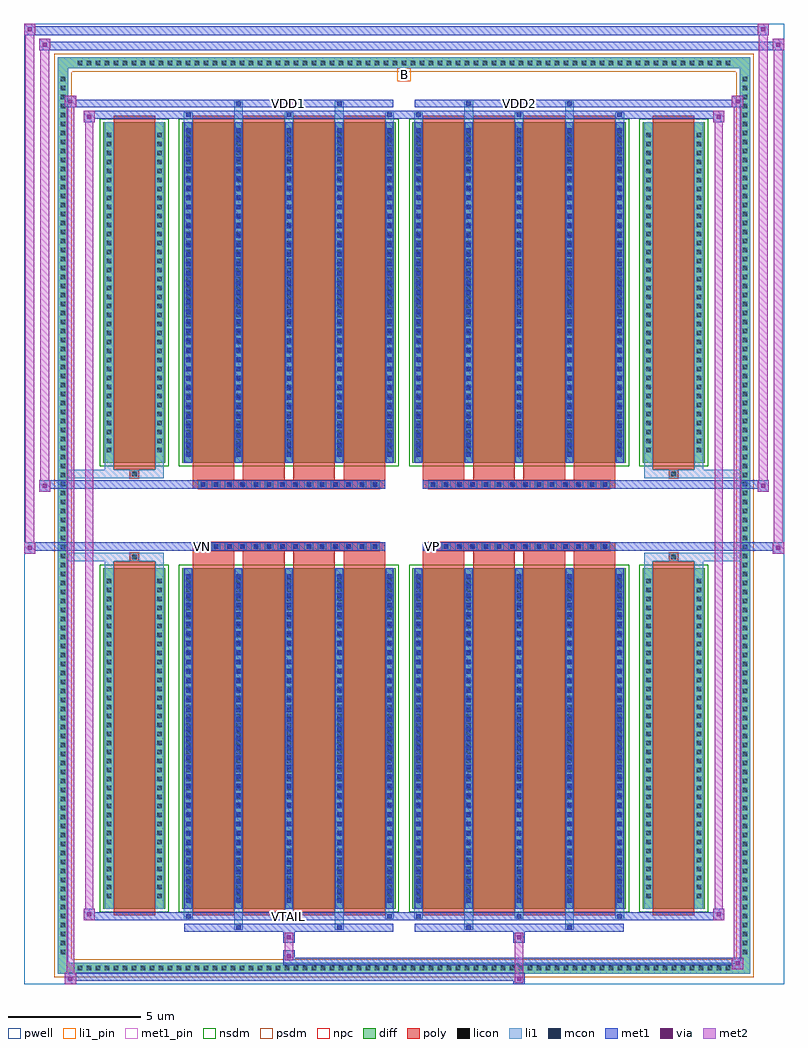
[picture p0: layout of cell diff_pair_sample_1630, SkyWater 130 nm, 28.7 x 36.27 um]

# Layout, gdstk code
import gdstk
lib = gdstk.Library(unit=1e-6, precision=5e-09)
def R(c, l, rs):  # rectangles x0, y0, x1, y1
    for r in rs: c.add(gdstk.rectangle(r[:2], r[2:], *l))
def A(c, l, x, y, w, h, nx, ny, dx, dy):  # array of equal rectangles
    R(c, l, [(x+i*dx, y+j*dy, x+i*dx+w, y+j*dy+h) for i in range(nx) for j in range(ny)])
def P(c, l, *ps):  # polygons
    for p in ps: c.add(gdstk.Polygon(p, *l))
pwell = (64, 44)
diff = (65, 20)
poly = (66, 20)
licon = (66, 44)
li1_pin = (67, 16)
li1 = (67, 20)
mcon = (67, 44)
met1_pin = (68, 16)
met1 = (68, 20)
via = (68, 44)
met2 = (69, 20)
nsdm = (93, 44)
psdm = (94, 20)
npc = (95, 20)

diff_pair_sample_1630 = lib.new_cell('diff_pair_sample_1630')
R(diff_pair_sample_1630, pwell, [(-14.35,-17.7,14.35,18.57), (-11.67,-15.89,-0.01,-0.805), (0.01,-15.89,11.67,-0.805), (-11.67,0.805,-0.01,15.89), (0.01,0.805,11.67,15.89)])
A(diff_pair_sample_1630, diff, -12.445, -17.3, 0.41, 0.41, 73, 2, 0.34, 34.19)
A(diff_pair_sample_1630, diff, -13.08, -16.695, 0.41, 0.41, 1, 98, 0, 0.34)
A(diff_pair_sample_1630, diff, 12.67, -16.695, 0.41, 0.41, 1, 98, 0, 0.34)
R(diff_pair_sample_1630, diff, [(-12.445,-17.3,12.445,-16.89), (-13.08,-16.695,-12.67,16.695), (12.67,-16.695,13.08,16.695), (-11.36,-14.845,-9.01,-1.985), (-8.37,-14.845,-0.32,-1.985), (0.32,-14.845,8.37,-1.985), (9.01,-14.845,11.36,-1.985), (-11.36,1.985,-9.01,14.845), (-8.37,1.985,-0.32,14.845), (0.32,1.985,8.37,14.845), (9.01,1.985,11.36,14.845), (-12.445,16.89,12.445,17.3)])
P(diff_pair_sample_1630, diff, [(13.08,17.3),(-13.08,17.3),(-13.08,-16.89),(-12.67,-16.89),(-12.67,16.89),(12.67,16.89),(12.67,-16.89),(-12.67,-16.89),(-13.08,-16.89),(-13.08,-17.3),(13.08,-17.3)])
A(diff_pair_sample_1630, poly, -7.98, -15.095, 1.57, 13.36, 4, 2, 1.9, 16.83)
A(diff_pair_sample_1630, poly, 0.71, -15.095, 1.57, 13.36, 4, 2, 1.9, 16.83)
A(diff_pair_sample_1630, poly, -7.98, -1.735, 1.57, 0.4, 4, 2, 1.9, 3.07)
A(diff_pair_sample_1630, poly, 0.71, -1.735, 1.57, 0.4, 4, 2, 1.9, 3.07)
A(diff_pair_sample_1630, poly, -7.76, -1.335, 0.33, 0.33, 14, 2, 0.5, 2.34)
A(diff_pair_sample_1630, poly, 0.93, -1.335, 0.33, 0.33, 14, 2, 0.5, 2.34)
R(diff_pair_sample_1630, poly, [(-10.97,-15.095,-9.4,-1.735), (9.4,-15.095,10.97,-1.735), (-10.35,-1.735,-10.02,-1.405), (-10.35,-1.735,-10.02,-1.405), (10.02,-1.735,10.35,-1.405), (10.02,-1.735,10.35,-1.405), (-7.98,-1.335,-0.71,-1.005), (0.71,-1.335,7.98,-1.005), (-7.98,1.005,-0.71,1.335), (0.71,1.005,7.98,1.335), (-10.35,1.405,-10.02,1.735), (-10.35,1.405,-10.02,1.735), (10.02,1.405,10.35,1.735), (10.02,1.405,10.35,1.735), (-10.97,1.735,-9.4,15.095), (9.4,1.735,10.97,15.095)])
A(diff_pair_sample_1630, licon, -12.325, -17.18, 0.17, 0.17, 73, 2, 0.34, 34.19)
A(diff_pair_sample_1630, licon, -12.96, -16.575, 0.17, 0.17, 1, 98, 0, 0.34)
A(diff_pair_sample_1630, licon, 12.79, -16.575, 0.17, 0.17, 1, 98, 0, 0.34)
A(diff_pair_sample_1630, licon, -11.22, -14.45, 0.17, 0.17, 1, 36, 0, 0.34)
A(diff_pair_sample_1630, licon, -9.32, -14.45, 0.17, 0.17, 1, 36, 0, 0.34)
A(diff_pair_sample_1630, licon, -8.23, -14.45, 0.17, 0.17, 5, 36, 1.9, 0.34)
A(diff_pair_sample_1630, licon, 0.46, -14.45, 0.17, 0.17, 5, 36, 1.9, 0.34)
A(diff_pair_sample_1630, licon, 9.15, -14.45, 0.17, 0.17, 1, 36, 0, 0.34)
A(diff_pair_sample_1630, licon, 11.05, -14.45, 0.17, 0.17, 1, 36, 0, 0.34)
A(diff_pair_sample_1630, licon, -7.68, -1.255, 0.17, 0.17, 14, 2, 0.5, 2.34)
A(diff_pair_sample_1630, licon, 1.01, -1.255, 0.17, 0.17, 14, 2, 0.5, 2.34)
A(diff_pair_sample_1630, licon, -11.22, 2.38, 0.17, 0.17, 1, 36, 0, 0.34)
A(diff_pair_sample_1630, licon, -9.32, 2.38, 0.17, 0.17, 1, 36, 0, 0.34)
A(diff_pair_sample_1630, licon, -8.23, 2.38, 0.17, 0.17, 5, 36, 1.9, 0.34)
A(diff_pair_sample_1630, licon, 0.46, 2.38, 0.17, 0.17, 5, 36, 1.9, 0.34)
A(diff_pair_sample_1630, licon, 9.15, 2.38, 0.17, 0.17, 1, 36, 0, 0.34)
A(diff_pair_sample_1630, licon, 11.05, 2.38, 0.17, 0.17, 1, 36, 0, 0.34)
R(diff_pair_sample_1630, licon, [(-10.27,-1.655,-10.1,-1.485), (10.1,-1.655,10.27,-1.485), (-10.27,1.485,-10.1,1.655), (10.1,1.485,10.27,1.655)])
R(diff_pair_sample_1630, li1_pin, [(-0.25,16.39,0.25,16.89)])
A(diff_pair_sample_1630, li1, -12.405, -17.26, 0.33, 0.33, 73, 2, 0.34, 34.19)
A(diff_pair_sample_1630, li1, -13.04, -16.655, 0.33, 0.33, 1, 98, 0, 0.34)
A(diff_pair_sample_1630, li1, 12.71, -16.655, 0.33, 0.33, 1, 98, 0, 0.34)
A(diff_pair_sample_1630, li1, -8.31, -15.22, 0.33, 0.375, 3, 2, 3.8, 30.065)
A(diff_pair_sample_1630, li1, -8.23, -15.22, 0.17, 0.17, 3, 2, 3.8, 30.27)
A(diff_pair_sample_1630, li1, 0.38, -15.22, 0.33, 0.375, 3, 2, 3.8, 30.065)
A(diff_pair_sample_1630, li1, 0.46, -15.22, 0.17, 0.17, 3, 2, 3.8, 30.27)
A(diff_pair_sample_1630, li1, -8.31, -14.845, 0.33, 12.86, 5, 2, 1.9, 16.83)
A(diff_pair_sample_1630, li1, 0.38, -14.845, 0.33, 12.86, 5, 2, 1.9, 16.83)
A(diff_pair_sample_1630, li1, -8.23, -14.62, 0.17, 0.17, 5, 35, 1.9, 0.36)
A(diff_pair_sample_1630, li1, -8.23, -14.62, 0.17, 12.41, 5, 2, 1.9, 16.83)
A(diff_pair_sample_1630, li1, 0.46, -14.62, 0.17, 0.17, 5, 35, 1.9, 0.36)
A(diff_pair_sample_1630, li1, 0.46, -14.62, 0.17, 12.41, 5, 2, 1.9, 16.83)
A(diff_pair_sample_1630, li1, -11.3, -14.53, 0.33, 0.33, 1, 36, 0, 0.34)
A(diff_pair_sample_1630, li1, -9.4, -14.53, 0.33, 0.33, 1, 36, 0, 0.34)
A(diff_pair_sample_1630, li1, -8.31, -14.53, 0.33, 0.33, 5, 36, 1.9, 0.34)
A(diff_pair_sample_1630, li1, 0.38, -14.53, 0.33, 0.33, 5, 36, 1.9, 0.34)
A(diff_pair_sample_1630, li1, 9.07, -14.53, 0.33, 0.33, 1, 36, 0, 0.34)
A(diff_pair_sample_1630, li1, 10.97, -14.53, 0.33, 0.33, 1, 36, 0, 0.34)
A(diff_pair_sample_1630, li1, -7.76, -1.335, 0.33, 0.33, 14, 2, 0.5, 2.34)
A(diff_pair_sample_1630, li1, 0.93, -1.335, 0.33, 0.33, 14, 2, 0.5, 2.34)
A(diff_pair_sample_1630, li1, -8.23, 2.21, 0.17, 0.17, 5, 35, 1.9, 0.36)
A(diff_pair_sample_1630, li1, 0.46, 2.21, 0.17, 0.17, 5, 35, 1.9, 0.36)
A(diff_pair_sample_1630, li1, -11.3, 2.3, 0.33, 0.33, 1, 36, 0, 0.34)
A(diff_pair_sample_1630, li1, -9.4, 2.3, 0.33, 0.33, 1, 36, 0, 0.34)
A(diff_pair_sample_1630, li1, -8.31, 2.3, 0.33, 0.33, 5, 36, 1.9, 0.34)
A(diff_pair_sample_1630, li1, 0.38, 2.3, 0.33, 0.33, 5, 36, 1.9, 0.34)
A(diff_pair_sample_1630, li1, 9.07, 2.3, 0.33, 0.33, 1, 36, 0, 0.34)
A(diff_pair_sample_1630, li1, 10.97, 2.3, 0.33, 0.33, 1, 36, 0, 0.34)
R(diff_pair_sample_1630, li1, [(-13.08,-17.3,-12.67,-16.89), (-13.08,-17.3,-12.67,-16.89), (-12.67,-17.3,12.67,-16.89), (12.67,-17.3,13.08,-16.89), (12.67,-17.3,13.08,-16.89), (-13.08,-16.89,-12.67,16.89), (12.67,-16.89,13.08,16.89), (-6.41,-15.65,-6.08,-14.845), (-6.33,-15.65,-6.16,-15.48), (-2.61,-15.65,-2.28,-14.845), (-2.53,-15.65,-2.36,-15.48), (2.28,-15.65,2.61,-14.845), (2.36,-15.65,2.53,-15.48), (6.08,-15.65,6.41,-14.845), (6.16,-15.65,6.33,-15.48), (-11.3,-14.845,-10.97,-1.985), (-9.4,-14.845,-9.07,-1.985), (9.07,-14.845,9.4,-1.985), (10.97,-14.845,11.3,-1.985), (-11.3,-1.985,-10.97,-1.405), (-9.4,-1.985,-9.07,-1.405), (9.07,-1.985,9.4,-1.405), (10.97,-1.985,11.3,-1.405), (-13.08,-1.735,-10.35,-1.405), (-11.3,-1.735,-10.35,-1.405), (-10.35,-1.735,-10.02,-1.405), (-10.02,-1.735,-9.07,-1.405), (9.07,-1.735,10.02,-1.405), (10.02,-1.735,10.35,-1.405), (10.02,-1.735,13.08,-1.405), (10.35,-1.735,11.3,-1.405), (-13.08,1.405,-10.35,1.735), (-11.3,1.405,-10.35,1.735), (-11.3,1.405,-10.97,1.985), (-10.35,1.405,-10.02,1.735), (-10.02,1.405,-9.07,1.735), (-9.4,1.405,-9.07,1.985), (9.07,1.405,10.02,1.735), (9.07,1.405,9.4,1.985), (10.02,1.405,10.35,1.735), (10.02,1.405,13.08,1.735), (10.35,1.405,11.3,1.735), (10.97,1.405,11.3,1.985), (-11.3,1.985,-10.97,14.845), (-9.4,1.985,-9.07,14.845), (9.07,1.985,9.4,14.845), (10.97,1.985,11.3,14.845), (-6.41,14.845,-6.08,15.65), (-2.61,14.845,-2.28,15.65), (2.28,14.845,2.61,15.65), (6.08,14.845,6.41,15.65), (-6.33,15.48,-6.16,15.65), (-2.53,15.48,-2.36,15.65), (2.36,15.48,2.53,15.65), (6.16,15.48,6.33,15.65), (-13.08,16.89,-12.67,17.3), (-13.08,16.89,-12.67,17.3), (-12.67,16.89,12.67,17.3), (12.67,16.89,13.08,17.3), (12.67,16.89,13.08,17.3)])
A(diff_pair_sample_1630, mcon, -8.23, -15.22, 0.17, 0.17, 3, 2, 3.8, 30.27)
A(diff_pair_sample_1630, mcon, 0.46, -15.22, 0.17, 0.17, 3, 2, 3.8, 30.27)
A(diff_pair_sample_1630, mcon, -8.23, -14.62, 0.17, 0.17, 5, 35, 1.9, 0.36)
A(diff_pair_sample_1630, mcon, 0.46, -14.62, 0.17, 0.17, 5, 35, 1.9, 0.36)
A(diff_pair_sample_1630, mcon, -7.68, -1.255, 0.17, 0.17, 14, 2, 0.5, 2.34)
A(diff_pair_sample_1630, mcon, 1.01, -1.255, 0.17, 0.17, 14, 2, 0.5, 2.34)
A(diff_pair_sample_1630, mcon, -8.23, 2.21, 0.17, 0.17, 5, 35, 1.9, 0.36)
A(diff_pair_sample_1630, mcon, 0.46, 2.21, 0.17, 0.17, 5, 35, 1.9, 0.36)
R(diff_pair_sample_1630, mcon, [(-6.33,-15.65,-6.16,-15.48), (-2.53,-15.65,-2.36,-15.48), (2.36,-15.65,2.53,-15.48), (6.16,-15.65,6.33,-15.48), (-6.33,15.48,-6.16,15.65), (-2.53,15.48,-2.36,15.65), (2.36,15.48,2.53,15.65), (6.16,15.48,6.33,15.65)])
R(diff_pair_sample_1630, met1_pin, [(-4.48,-15.26,-4.21,-14.99), (-7.73,-1.295,-7.46,-1.025), (0.96,-1.295,1.23,-1.025), (-4.48,15.44,-4.21,15.71), (4.21,15.44,4.48,15.71)])
A(diff_pair_sample_1630, met1, -8.29, -15.28, 0.29, 0.29, 3, 2, 3.8, 30.27)
A(diff_pair_sample_1630, met1, 0.4, -15.28, 0.29, 0.29, 3, 2, 3.8, 30.27)
A(diff_pair_sample_1630, met1, -8.29, -14.845, 0.29, 12.86, 5, 2, 1.9, 16.83)
A(diff_pair_sample_1630, met1, 0.4, -14.845, 0.29, 12.86, 5, 2, 1.9, 16.83)
A(diff_pair_sample_1630, met1, -8.29, -14.68, 0.29, 0.29, 5, 35, 1.9, 0.36)
A(diff_pair_sample_1630, met1, 0.4, -14.68, 0.29, 0.29, 5, 35, 1.9, 0.36)
A(diff_pair_sample_1630, met1, -7.74, -1.315, 0.29, 0.29, 14, 2, 0.5, 2.34)
A(diff_pair_sample_1630, met1, 0.95, -1.315, 0.29, 0.29, 14, 2, 0.5, 2.34)
A(diff_pair_sample_1630, met1, -8.29, 2.15, 0.29, 0.29, 5, 35, 1.9, 0.36)
A(diff_pair_sample_1630, met1, 0.4, 2.15, 0.29, 0.29, 5, 35, 1.9, 0.36)
R(diff_pair_sample_1630, met1, [(-12.81,-17.7,-12.38,-17.27), (4.13,-17.7,4.56,-17.27), (-12.81,-17.56,4.56,-17.27), (12.38,-17.13,12.81,-16.7), (-4.56,-16.99,12.81,-16.7), (-4.56,-16.85,-4.13,-16.42), (-4.56,-16.14,-4.13,-15.71), (4.13,-16.14,4.56,-15.71), (-8.29,-15.71,-0.4,-15.42), (-6.39,-15.71,-6.1,-15.42), (-2.59,-15.71,-2.3,-15.42), (0.4,-15.71,8.29,-15.42), (2.3,-15.71,2.59,-15.42), (6.1,-15.71,6.39,-15.42), (-12.1,-15.28,-11.67,-14.85), (-12.1,-15.28,-8.29,-14.99), (-8.29,-15.28,-0.4,-14.99), (-0.4,-15.28,0.4,-14.99), (0.4,-15.28,8.29,-14.99), (8.29,-15.28,12.1,-14.99), (11.67,-15.28,12.1,-14.85), (-14.35,-1.435,-13.92,-1.005), (13.92,-1.435,14.35,-1.005), (-14.35,-1.335,-0.71,-1.005), (-7.98,-1.335,-0.71,-1.005), (0.71,-1.335,7.98,-1.005), (0.71,-1.335,14.35,-1.005), (-13.78,0.905,-13.35,1.335), (13.35,0.905,13.78,1.335), (-13.78,1.005,-7.98,1.335), (-7.98,1.005,-0.71,1.335), (0.71,1.005,7.98,1.335), (7.98,1.005,13.78,1.335), (-12.1,14.85,-11.67,15.28), (11.67,14.85,12.1,15.28), (-12.1,14.99,-8.29,15.28), (-8.29,14.99,-0.4,15.28), (-0.4,14.99,0.4,15.28), (0.4,14.99,8.29,15.28), (8.29,14.99,12.1,15.28), (-12.81,15.42,-12.38,15.85), (-12.81,15.42,-8.29,15.71), (-8.29,15.42,-0.4,15.71), (-6.39,15.42,-6.1,15.71), (-2.59,15.42,-2.3,15.71), (0.4,15.42,8.29,15.71), (2.3,15.42,2.59,15.71), (6.1,15.42,6.39,15.71), (8.29,15.42,12.81,15.71), (12.38,15.42,12.81,15.85), (-13.78,17.57,-13.35,18), (-13.78,17.57,-11.67,17.9), (-11.67,17.57,11.67,17.9), (11.67,17.57,14.35,17.9), (13.92,17.57,14.35,18), (-14.35,18.14,-13.92,18.57), (-14.35,18.14,-11.67,18.47), (-11.67,18.14,11.67,18.47), (11.67,18.14,13.78,18.47), (13.35,18.14,13.78,18.57)])
R(diff_pair_sample_1630, via, [(-12.67,-17.56,-12.52,-17.41), (4.27,-17.56,4.42,-17.41), (12.52,-16.99,12.67,-16.84), (-4.42,-16.71,-4.27,-16.56), (-4.42,-16,-4.27,-15.85), (4.27,-16,4.42,-15.85), (-11.96,-15.14,-11.81,-14.99), (11.81,-15.14,11.96,-14.99), (-14.21,-1.295,-14.06,-1.145), (14.06,-1.295,14.21,-1.145), (-13.64,1.045,-13.49,1.195), (13.49,1.045,13.64,1.195), (-11.96,14.99,-11.81,15.14), (11.81,14.99,11.96,15.14), (-12.67,15.56,-12.52,15.71), (12.52,15.56,12.67,15.71), (-13.64,17.71,-13.49,17.86), (14.06,17.71,14.21,17.86), (-14.21,18.28,-14.06,18.43), (13.49,18.28,13.64,18.43)])
R(diff_pair_sample_1630, met2, [(-12.81,-17.7,-12.38,-17.27), (-12.74,-17.7,-12.45,15.85), (-12.45,-17.7,-12.38,-17.27), (-12.76,-17.65,-12.43,-17.32), (4.18,-17.65,4.51,-17.32), (4.18,-17.32,4.51,-16.09), (12.38,-17.13,12.81,-16.7), (12.45,-17.13,12.74,15.85), (12.74,-17.13,12.81,-16.7), (12.43,-17.08,12.76,-16.75), (-4.51,-16.8,-4.18,-16.47), (-4.51,-16.47,-4.18,-16.09), (-4.51,-16.09,-4.18,-15.76), (4.18,-16.09,4.51,-15.76), (-12.1,-15.28,-11.67,-14.85), (-12.03,-15.28,-11.74,15.28), (-11.74,-15.28,-11.67,-14.85), (11.67,-15.28,12.1,-14.85), (11.74,-15.28,12.03,15.28), (12.03,-15.28,12.1,-14.85), (-12.05,-15.23,-11.72,-14.9), (11.72,-15.23,12.05,-14.9), (-14.35,-1.435,-13.92,-1.005), (-14.3,-1.435,-13.97,18.57), (-13.97,-1.435,-13.92,-1.005), (13.92,-1.435,14.35,-1.005), (13.97,-1.435,14.3,18), (14.3,-1.435,14.35,-1.005), (-14.3,-1.385,-13.97,-1.055), (13.97,-1.385,14.3,-1.055), (-13.78,0.905,-13.35,1.335), (-13.73,0.905,-13.4,18), (-13.4,0.905,-13.35,1.335), (13.35,0.905,13.78,1.335), (13.4,0.905,13.73,18.57), (13.73,0.905,13.78,1.335), (-13.73,0.955,-13.4,1.285), (13.4,0.955,13.73,1.285), (-12.1,14.85,-11.67,15.28), (-11.74,14.85,-11.67,15.28), (11.67,14.85,12.1,15.28), (12.03,14.85,12.1,15.28), (-12.05,14.9,-11.72,15.23), (11.72,14.9,12.05,15.23), (-12.81,15.42,-12.38,15.85), (-12.45,15.42,-12.38,15.85), (12.38,15.42,12.81,15.85), (12.74,15.42,12.81,15.85), (-12.76,15.47,-12.43,15.8), (12.43,15.47,12.76,15.8), (-13.78,17.57,-13.35,18), (-13.4,17.57,-13.35,18), (13.92,17.57,14.35,18), (14.3,17.57,14.35,18), (-13.73,17.62,-13.4,17.95), (13.97,17.62,14.3,17.95), (-14.35,18.14,-13.92,18.57), (-13.97,18.14,-13.92,18.57), (13.35,18.14,13.78,18.57), (13.73,18.14,13.78,18.57), (-14.3,18.19,-13.97,18.52), (13.4,18.19,13.73,18.52)])
R(diff_pair_sample_1630, nsdm, [(-11.49,-14.975,-8.88,-1.855), (-8.5,-14.975,-0.19,-1.855), (0.19,-14.975,8.5,-1.855), (8.88,-14.975,11.49,-1.855), (-11.49,1.855,-8.88,14.975), (-8.5,1.855,-0.19,14.975), (0.19,1.855,8.5,14.975), (8.88,1.855,11.49,14.975)])
P(diff_pair_sample_1630, psdm, [(13.21,17.43),(-13.21,17.43),(-13.21,-16.76),(-12.54,-16.76),(-12.54,16.76),(12.54,16.76),(12.54,-16.76),(-12.54,-16.76),(-13.21,-16.76),(-13.21,-17.43),(13.21,-17.43)])
A(diff_pair_sample_1630, npc, -7.78, -1.355, 0.37, 0.37, 14, 2, 0.5, 2.34)
A(diff_pair_sample_1630, npc, 0.91, -1.355, 0.37, 0.37, 14, 2, 0.5, 2.34)
R(diff_pair_sample_1630, npc, [(-10.37,-1.755,-10,-1.385), (10,-1.755,10.37,-1.385), (-7.78,-1.355,-6.91,-0.985), (-7.78,-1.355,-6.91,-0.985), (-7.28,-1.355,-6.41,-0.985), (-7.28,-1.355,-6.41,-0.985), (-6.78,-1.355,-5.91,-0.985), (-6.78,-1.355,-5.91,-0.985), (-6.28,-1.355,-5.41,-0.985), (-6.28,-1.355,-5.41,-0.985), (-5.78,-1.355,-4.91,-0.985), (-5.78,-1.355,-4.91,-0.985), (-5.28,-1.355,-4.41,-0.985), (-5.28,-1.355,-4.41,-0.985), (-4.78,-1.355,-3.91,-0.985), (-4.78,-1.355,-3.91,-0.985), (-4.28,-1.355,-3.41,-0.985), (-4.28,-1.355,-3.41,-0.985), (-3.78,-1.355,-2.91,-0.985), (-3.78,-1.355,-2.91,-0.985), (-3.28,-1.355,-2.41,-0.985), (-3.28,-1.355,-2.41,-0.985), (-2.78,-1.355,-1.91,-0.985), (-2.78,-1.355,-1.91,-0.985), (-2.28,-1.355,-1.41,-0.985), (-2.28,-1.355,-1.41,-0.985), (-1.78,-1.355,-0.91,-0.985), (-1.78,-1.355,-0.91,-0.985), (0.91,-1.355,1.78,-0.985), (0.91,-1.355,1.78,-0.985), (1.41,-1.355,2.28,-0.985), (1.41,-1.355,2.28,-0.985), (1.91,-1.355,2.78,-0.985), (1.91,-1.355,2.78,-0.985), (2.41,-1.355,3.28,-0.985), (2.41,-1.355,3.28,-0.985), (2.91,-1.355,3.78,-0.985), (2.91,-1.355,3.78,-0.985), (3.41,-1.355,4.28,-0.985), (3.41,-1.355,4.28,-0.985), (3.91,-1.355,4.78,-0.985), (3.91,-1.355,4.78,-0.985), (4.41,-1.355,5.28,-0.985), (4.41,-1.355,5.28,-0.985), (4.91,-1.355,5.78,-0.985), (4.91,-1.355,5.78,-0.985), (5.41,-1.355,6.28,-0.985), (5.41,-1.355,6.28,-0.985), (5.91,-1.355,6.78,-0.985), (5.91,-1.355,6.78,-0.985), (6.41,-1.355,7.28,-0.985), (6.41,-1.355,7.28,-0.985), (6.91,-1.355,7.78,-0.985), (6.91,-1.355,7.78,-0.985), (-7.78,0.985,-6.91,1.355), (-7.78,0.985,-6.91,1.355), (-7.28,0.985,-6.41,1.355), (-7.28,0.985,-6.41,1.355), (-6.78,0.985,-5.91,1.355), (-6.78,0.985,-5.91,1.355), (-6.28,0.985,-5.41,1.355), (-6.28,0.985,-5.41,1.355), (-5.78,0.985,-4.91,1.355), (-5.78,0.985,-4.91,1.355), (-5.28,0.985,-4.41,1.355), (-5.28,0.985,-4.41,1.355), (-4.78,0.985,-3.91,1.355), (-4.78,0.985,-3.91,1.355), (-4.28,0.985,-3.41,1.355), (-4.28,0.985,-3.41,1.355), (-3.78,0.985,-2.91,1.355), (-3.78,0.985,-2.91,1.355), (-3.28,0.985,-2.41,1.355), (-3.28,0.985,-2.41,1.355), (-2.78,0.985,-1.91,1.355), (-2.78,0.985,-1.91,1.355), (-2.28,0.985,-1.41,1.355), (-2.28,0.985,-1.41,1.355), (-1.78,0.985,-0.91,1.355), (-1.78,0.985,-0.91,1.355), (0.91,0.985,1.78,1.355), (0.91,0.985,1.78,1.355), (1.41,0.985,2.28,1.355), (1.41,0.985,2.28,1.355), (1.91,0.985,2.78,1.355), (1.91,0.985,2.78,1.355), (2.41,0.985,3.28,1.355), (2.41,0.985,3.28,1.355), (2.91,0.985,3.78,1.355), (2.91,0.985,3.78,1.355), (3.41,0.985,4.28,1.355), (3.41,0.985,4.28,1.355), (3.91,0.985,4.78,1.355), (3.91,0.985,4.78,1.355), (4.41,0.985,5.28,1.355), (4.41,0.985,5.28,1.355), (4.91,0.985,5.78,1.355), (4.91,0.985,5.78,1.355), (5.41,0.985,6.28,1.355), (5.41,0.985,6.28,1.355), (5.91,0.985,6.78,1.355), (5.91,0.985,6.78,1.355), (6.41,0.985,7.28,1.355), (6.41,0.985,7.28,1.355), (6.91,0.985,7.78,1.355), (6.91,0.985,7.78,1.355), (-10.37,1.385,-10,1.755), (10,1.385,10.37,1.755)])
diff_pair_sample_1630.add(gdstk.Label('VTAIL', (-4.345,-15.125), layer=68, texttype=5))
diff_pair_sample_1630.add(gdstk.Label('VN', (-7.595,-1.16), layer=68, texttype=5))
diff_pair_sample_1630.add(gdstk.Label('VP', (1.095,-1.16), layer=68, texttype=5))
diff_pair_sample_1630.add(gdstk.Label('B', (0,16.64), layer=67, texttype=5))
diff_pair_sample_1630.add(gdstk.Label('VDD2', (4.345,15.575), layer=68, texttype=5))
diff_pair_sample_1630.add(gdstk.Label('VDD1', (-4.345,15.575), layer=68, texttype=5))

lib.write_gds('diff_pair_sample_1630.gds')
